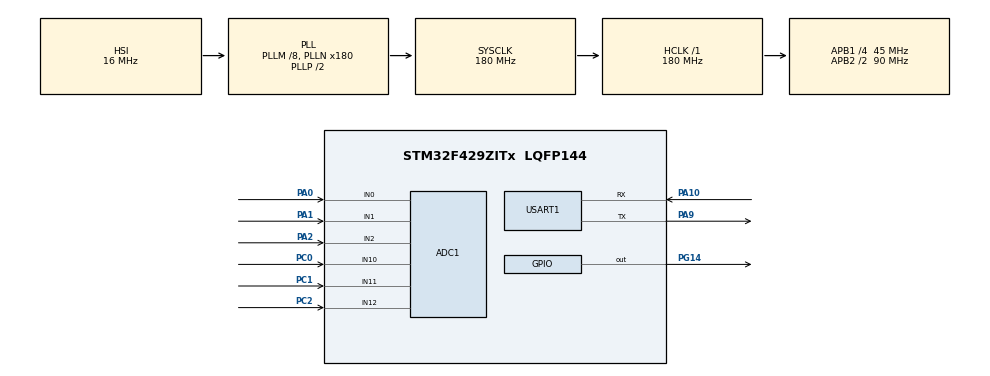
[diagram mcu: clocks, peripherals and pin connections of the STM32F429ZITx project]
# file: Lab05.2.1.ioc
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ADC1.Channel-1\#ChannelRegularConversion=ADC_CHANNEL_10
ADC1.Channel-2\#ChannelRegularConversion=ADC_CHANNEL_11
ADC1.Channel-3\#ChannelRegularConversion=ADC_CHANNEL_12
ADC1.Channel-4\#ChannelRegularConversion=ADC_CHANNEL_0
ADC1.Channel-5\#ChannelRegularConversion=ADC_CHANNEL_1
ADC1.Channel-6\#ChannelRegularConversion=ADC_CHANNEL_2
ADC1.ClockPrescaler=ADC_CLOCK_SYNC_PCLK_DIV8
ADC1.ContinuousConvMode=ENABLE
ADC1.DMAContinuousRequests=ENABLE
ADC1.NbrOfConversion=6
ADC1.NbrOfConversionFlag=1
ADC1.Rank-1\#ChannelRegularConversion=1
ADC1.Rank-2\#ChannelRegularConversion=2
ADC1.Rank-3\#ChannelRegularConversion=3
ADC1.Rank-4\#ChannelRegularConversion=4
ADC1.Rank-5\#ChannelRegularConversion=5
ADC1.Rank-6\#ChannelRegularConversion=6
ADC1.SamplingTime-1\#ChannelRegularConversion=ADC_SAMPLETIME_480CYCLES
ADC1.SamplingTime-2\#ChannelRegularConversion=ADC_SAMPLETIME_480CYCLES
ADC1.SamplingTime-3\#ChannelRegularConversion=ADC_SAMPLETIME_480CYCLES
ADC1.SamplingTime-4\#ChannelRegularConversion=ADC_SAMPLETIME_480CYCLES
ADC1.SamplingTime-5\#ChannelRegularConversion=ADC_SAMPLETIME_480CYCLES
ADC1.SamplingTime-6\#ChannelRegularConversion=ADC_SAMPLETIME_480CYCLES
ADC1.ScanConvMode=ENABLE
ADC1.master=1
Dma.ADC1.0.Direction=DMA_PERIPH_TO_MEMORY
Dma.ADC1.0.FIFOMode=DMA_FIFOMODE_ENABLE
Dma.ADC1.0.FIFOThreshold=DMA_FIFO_THRESHOLD_FULL
Dma.ADC1.0.Instance=DMA2_Stream0
Dma.ADC1.0.MemBurst=DMA_MBURST_SINGLE
Dma.ADC1.0.MemDataAlignment=DMA_MDATAALIGN_WORD
Dma.ADC1.0.MemInc=DMA_MINC_ENABLE
Dma.ADC1.0.Mode=DMA_CIRCULAR
Dma.ADC1.0.PeriphBurst=DMA_PBURST_SINGLE
Dma.ADC1.0.PeriphDataAlignment=DMA_PDATAALIGN_WORD
Dma.ADC1.0.PeriphInc=DMA_PINC_DISABLE
Dma.ADC1.0.Priority=DMA_PRIORITY_LOW
Dma.Request0=ADC1
Mcu.Family=STM32F4
Mcu.Name=STM32F429ZITx
Mcu.Package=LQFP144
NVIC.DMA2_Stream0_IRQn=true\:0\:0\:false\:false\:true\:false\:true
NVIC.PriorityGroup=NVIC_PRIORITYGROUP_4
NVIC.TIM1_UP_TIM10_IRQn=true\:15\:0\:false\:false\:true\:false\:true
NVIC.TimeBase=TIM1_UP_TIM10_IRQn
NVIC.TimeBaseIP=TIM1
PA0/WKUP.Signal=ADCx_IN0
PA1.Signal=ADCx_IN1
PA10.Mode=Asynchronous
PA10.Signal=USART1_RX
PA2.Signal=ADCx_IN2
PA9.Mode=Asynchronous
PA9.Signal=USART1_TX
PC0.Signal=ADCx_IN10
PC1.Signal=ADCx_IN11
PC2.Signal=ADCx_IN12
PG14.Signal=GPIO_Output
ProjectManager.HeapSize=0x200
ProjectManager.StackSize=0x400
ProjectManager.TargetToolchain=STM32CubeIDE
RCC.48MHZClocksFreq_Value=90000000
RCC.AHBFreq_Value=180000000
RCC.APB1CLKDivider=RCC_HCLK_DIV4
RCC.APB1Freq_Value=45000000
RCC.APB1TimFreq_Value=90000000
RCC.APB2CLKDivider=RCC_HCLK_DIV2
RCC.APB2Freq_Value=90000000
RCC.APB2TimFreq_Value=180000000
RCC.CortexFreq_Value=180000000
RCC.HCLKFreq_Value=180000000
RCC.HSE_VALUE=25000000
RCC.HSI_VALUE=16000000
RCC.LSE_VALUE=32768
RCC.PLLM=8
RCC.PLLN=180
RCC.SYSCLKFreq_VALUE=180000000
RCC.SYSCLKSource=RCC_SYSCLKSOURCE_PLLCLK
RCC.VCOOutputFreq_Value=360000000
SH.ADCx_IN0.0=ADC1_IN0,IN0
SH.ADCx_IN1.0=ADC1_IN1,IN1
SH.ADCx_IN10.0=ADC1_IN10,IN10
SH.ADCx_IN11.0=ADC1_IN11,IN11
SH.ADCx_IN12.0=ADC1_IN12,IN12
SH.ADCx_IN2.0=ADC1_IN2,IN2
USART1.VirtualMode=VM_ASYNC
VP_SYS_VS_tim1.Mode=TIM1
board=custom

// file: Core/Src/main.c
/* USER CODE BEGIN Header */
/**
  ******************************************************************************
  * @file           : main.c
  * @brief          : Main program body
  ******************************************************************************
  * @attention
  *
  * <h2><center>&copy; Copyright (c) 2021 STMicroelectronics.
  * All rights reserved.</center></h2>
  *
  * This software component is licensed by ST under BSD 3-Clause license,
  * the "License"; You may not use this file except in compliance with the
  * License. You may obtain a copy of the License at:
  *                        opensource.org/licenses/BSD-3-Clause
  *
  ******************************************************************************
  */
/* USER CODE END Header */
#include "main.h"
#include "adc.h"
#include "dma.h"
#include "usart.h"
#include "gpio.h"

/* USER CODE BEGIN Includes */
#include <string.h>
#include <stdio.h>
/* USER CODE END Includes */

/* USER CODE BEGIN PV */
volatile uint32_t raw_adc_buffer[6]; // 6 == Number of Channels
/* USER CODE END PV */

void SystemClock_Config(void);

/* USER CODE BEGIN 0 */
float get_v_display(uint32_t raw_in){
	return ((float)raw_in*3.3)/4095;
}

void display_out(uint32_t x[]){
	char output[50];
	char vout[50];
	sprintf(output,"0x%08X ",x[0]);
	sprintf(vout,"%.2f V",get_v_display(x[0]));
	HAL_UART_Transmit(&huart1, (uint8_t *) "ADC1_CH10", strlen("ADC1_CH10"), 100);
	HAL_UART_Transmit(&huart1, (uint8_t *) " ", strlen(" "), 100);
	HAL_UART_Transmit(&huart1, (uint8_t *) output, strlen(output), 100);
	HAL_UART_Transmit(&huart1, (uint8_t *) "Vin = ", strlen("Vin = "), 100);
	HAL_UART_Transmit(&huart1, (uint8_t *) vout, strlen(vout), 100);
	HAL_UART_Transmit(&huart1, (uint8_t *) " | ", strlen(" | "), 100);

//	sprintf(output,"0x%08X ",x[1]);
//	sprintf(vout,"%.2f V",get_v_display(x[1]));
//	HAL_UART_Transmit(&huart1, (uint8_t *) "ADC1_CH11", strlen("ADC1_CH11"), 100);
//	HAL_UART_Transmit(&huart1, (uint8_t *) " ", strlen(" "), 100);
//	HAL_UART_Transmit(&huart1, (uint8_t *) output, strlen(output), 100);
//	HAL_UART_Transmit(&huart1, (uint8_t *) "Vin = ", strlen("Vin = "), 100);
//	HAL_UART_Transmit(&huart1, (uint8_t *) vout, strlen(vout), 100);
//	HAL_UART_Transmit(&huart1, (uint8_t *) " | ", strlen(" | "), 100);
//
//	sprintf(output,"0x%08X ",x[2]);
//	sprintf(vout,"%.2f V",get_v_display(x[2]));
//	HAL_UART_Transmit(&huart1, (uint8_t *) "ADC1_CH12", strlen("ADC1_CH12"), 100);
//	HAL_UART_Transmit(&huart1, (uint8_t *) " ", strlen(" "), 100);
//	HAL_UART_Transmit(&huart1, (uint8_t *) output, strlen(output), 100);
//	HAL_UART_Transmit(&huart1, (uint8_t *) "Vin = ", strlen("Vin = "), 100);
//	HAL_UART_Transmit(&huart1, (uint8_t *) vout, strlen(vout), 100);
//	HAL_UART_Transmit(&huart1, (uint8_t *) " | ", strlen(" | "), 100);
//
//	sprintf(output,"0x%08X ",x[3]);
//	sprintf(vout,"%.2f V",get_v_display(x[3]));
//	HAL_UART_Transmit(&huart1, (uint8_t *) "ADC1_CH0", strlen("ADC1_CH0"), 100);
//	HAL_UART_Transmit(&huart1, (uint8_t *) " ", strlen(" "), 100);
//	HAL_UART_Transmit(&huart1, (uint8_t *) output, strlen(output), 100);
//	HAL_UART_Transmit(&huart1, (uint8_t *) "Vin = ", strlen("Vin = "), 100);
//	HAL_UART_Transmit(&huart1, (uint8_t *) vout, strlen(vout), 100);
//	HAL_UART_Transmit(&huart1, (uint8_t *) " | ", strlen(" | "), 100);

//	sprintf(output,"0x%08X ",x[4]);
//	sprintf(vout,"%.2f V",get_v_display(x[4]));
//	HAL_UART_Transmit(&huart1, (uint8_t *) "ADC1_CH1", strlen("ADC1_CH1"), 100);
//	HAL_UART_Transmit(&huart1, (uint8_t *) " ", strlen(" "), 100);
//	HAL_UART_Transmit(&huart1, (uint8_t *) output, strlen(output), 100);
//	HAL_UART_Transmit(&huart1, (uint8_t *) "Vin = ", strlen("Vin = "), 100);
//	HAL_UART_Transmit(&huart1, (uint8_t *) vout, strlen(vout), 100);
//	HAL_UART_Transmit(&huart1, (uint8_t *) " | ", strlen(" | "), 100);
//
//	sprintf(output,"0x%08X ",x[5]);
//	sprintf(vout,"%.2f V",get_v_display(x[5]));
//	HAL_UART_Transmit(&huart1, (uint8_t *) "ADC1_CH2", strlen("ADC1_CH2"), 100);
//	HAL_UART_Transmit(&huart1, (uint8_t *) " ", strlen(" "), 100);
//	HAL_UART_Transmit(&huart1, (uint8_t *) output, strlen(output), 100);
//	HAL_UART_Transmit(&huart1, (uint8_t *) "Vin = ", strlen("Vin = "), 100);
//	HAL_UART_Transmit(&huart1, (uint8_t *) vout, strlen(vout), 100);

	HAL_UART_Transmit(&huart1, (uint8_t *)"\r\n", strlen("\r\n"), 100);
	HAL_Delay(1);
}
/* USER CODE END 0 */

int main(void)
{

  /* MCU Configuration--------------------------------------------------------*/

  /* Reset of all peripherals, Initializes the Flash interface and the Systick. */
  HAL_Init();

  /* Configure the system clock */
  SystemClock_Config();

  /* Initialize all configured peripherals */
  MX_GPIO_Init();
  MX_ADC1_Init();
  MX_DMA_Init();
  MX_USART1_UART_Init();
  /* USER CODE BEGIN 2 */
  HAL_ADC_Start_DMA(&hadc1,(uint32_t*)&raw_adc_buffer,6);
  /* USER CODE END 2 */

  /* Infinite loop */
  while (1)
  {

  }
}

void SystemClock_Config(void)
{
  RCC_OscInitTypeDef RCC_OscInitStruct = {0};
  RCC_ClkInitTypeDef RCC_ClkInitStruct = {0};

  /** Configure the main internal regulator output voltage
  */
  __HAL_RCC_PWR_CLK_ENABLE();
  __HAL_PWR_VOLTAGESCALING_CONFIG(PWR_REGULATOR_VOLTAGE_SCALE1);
  /** Initializes the RCC Oscillators according to the specified parameters
  * in the RCC_OscInitTypeDef structure.
  */
  RCC_OscInitStruct.OscillatorType = RCC_OSCILLATORTYPE_HSI;
  RCC_OscInitStruct.HSIState = RCC_HSI_ON;
  RCC_OscInitStruct.HSICalibrationValue = RCC_HSICALIBRATION_DEFAULT;
  RCC_OscInitStruct.PLL.PLLState = RCC_PLL_ON;
  RCC_OscInitStruct.PLL.PLLSource = RCC_PLLSOURCE_HSI;
  RCC_OscInitStruct.PLL.PLLM = 8;
  RCC_OscInitStruct.PLL.PLLN = 180;
  RCC_OscInitStruct.PLL.PLLP = RCC_PLLP_DIV2;
  RCC_OscInitStruct.PLL.PLLQ = 4;
  if (HAL_RCC_OscConfig(&RCC_OscInitStruct) != HAL_OK)
  {
    Error_Handler();
  }
  /** Activate the Over-Drive mode
  */
  if (HAL_PWREx_EnableOverDrive() != HAL_OK)
  {
    Error_Handler();
  }
  /** Initializes the CPU, AHB and APB buses clocks
  */
  RCC_ClkInitStruct.ClockType = RCC_CLOCKTYPE_HCLK|RCC_CLOCKTYPE_SYSCLK
                              |RCC_CLOCKTYPE_PCLK1|RCC_CLOCKTYPE_PCLK2;
  RCC_ClkInitStruct.SYSCLKSource = RCC_SYSCLKSOURCE_PLLCLK;
  RCC_ClkInitStruct.AHBCLKDivider = RCC_SYSCLK_DIV1;
  RCC_ClkInitStruct.APB1CLKDivider = RCC_HCLK_DIV4;
  RCC_ClkInitStruct.APB2CLKDivider = RCC_HCLK_DIV2;

  if (HAL_RCC_ClockConfig(&RCC_ClkInitStruct, FLASH_LATENCY_5) != HAL_OK)
  {
    Error_Handler();
  }
}

/* USER CODE BEGIN 4 */
void HAL_ADC_ConvHalfCpltCallback(ADC_HandleTypeDef* hadc){
	HAL_GPIO_WritePin(GPIOG,GPIO_PIN_14,1);
	display_out(raw_adc_buffer);
	HAL_Delay(1000);
}

void HAL_ADC_ConvCpltCallback(ADC_HandleTypeDef* hadc){
	HAL_GPIO_WritePin(GPIOG,GPIO_PIN_14,0);
	//HAL_ADC_Start_DMA(&hadc1,(uint32_t*)&raw_adc_buffer,1);
}
/* USER CODE END 4 */

void HAL_TIM_PeriodElapsedCallback(TIM_HandleTypeDef *htim)
{
  if (htim->Instance == TIM1) {
    HAL_IncTick();
  }
}

void Error_Handler(void)
{
  __disable_irq();
  while (1)
  {
  }
}

/************************ (C) COPYRIGHT STMicroelectronics *****END OF FILE****/
